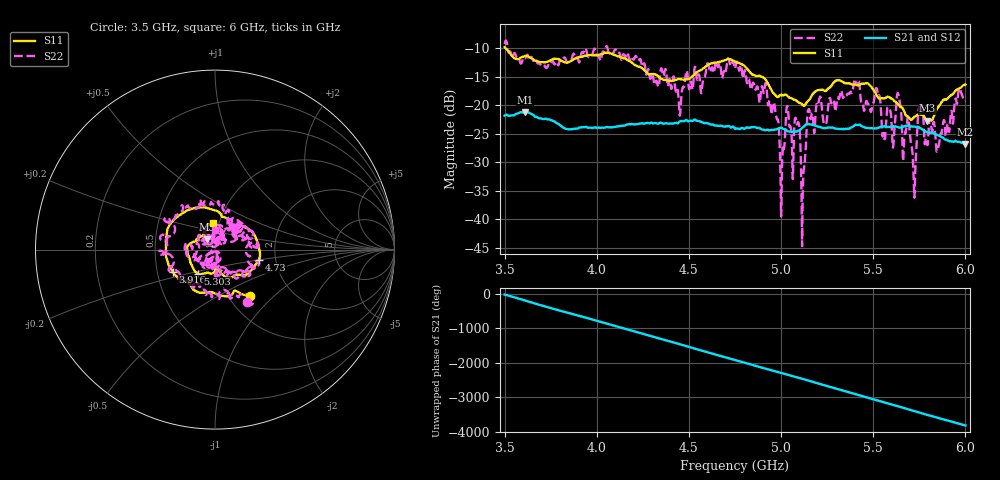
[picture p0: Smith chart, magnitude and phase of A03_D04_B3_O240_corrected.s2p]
! Created with skrf 1.9.0 (http://scikit-rf.org).
# Hz S RI R 50.0
!freq ReS11 ImS11 ReS21 ImS21 ReS12 ImS12 ReS22 ImS22
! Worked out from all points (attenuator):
!   1601 points, 3.5 GHz to 6 GHz, reference 50 ohm
!   highest |S21| = -21.20 dB at 3.611 GHz (marker M1); lowest = -26.8 dB at 5.998 GHz (marker M2)
!   lowest |S11| = -22.7 dB at 5.794 GHz (marker M3), VSWR 1.16, Z = 45.4 + j5.23 ohm
!   |S11| at or under -10 dB: 3.506 GHz to end of sweep
!   |S22| runs from -44.7 to -8.6 dB; largest |S21 - S12| = 0.0011
!   S11 on the Smith chart (normalised r, x): 3.5 GHz: 1.26, -0.72; 3.916 GHz: 0.60, -0.16; 4.73 GHz: 1.63, -0.20; 5.303 GHz: 0.80, -0.22; 6 GHz: 0.93, +0.29
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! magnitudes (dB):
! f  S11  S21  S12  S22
! 3.5 GHz  -9.8  -21.8  -21.8  -9.3
! 3.611 GHz  -11.4  -21.2  -21.2  -11.8
! 3.916 GHz  -11.5  -23.9  -23.9  -11.0
! 3.917 GHz  -11.5  -23.9  -23.9  -10.8
! 4.334 GHz  -15.0  -23.3  -23.2  -16.8
! 4.73 GHz  -12.0  -23.9  -23.8  -13.0
! 4.75 GHz  -12.4  -24.1  -24.0  -13.6
! 4.967 GHz  -18.2  -24.3  -24.2  -20.6
! 5.005 GHz  -18.2  -24.0  -24.0  -31.3
! 5.033 GHz  -18.3  -24.5  -24.4  -20.2
! 5.088 GHz  -19.3  -24.6  -24.5  -23.3
! 5.119 GHz  -20.0  -23.9  -23.8  -34.0
! 5.145 GHz  -19.3  -23.3  -23.2  -21.0
! 5.167 GHz  -18.3  -23.4  -23.4  -21.4
! 5.303 GHz  -15.7  -24.1  -24.1  -19.2
! 5.584 GHz  -18.6  -23.8  -23.8  -20.5
! 5.639 GHz  -20.0  -23.9  -23.9  -18.5
! 5.72 GHz  -22.1  -23.8  -23.7  -33.9
! 5.755 GHz  -21.7  -24.0  -24.0  -20.4
! 5.794 GHz  -22.7  -24.8  -24.7  -27.0
! 5.998 GHz  -16.4  -26.8  -26.7  -19.3
! 6 GHz  -16.4  -26.8  -26.7  -19.2
